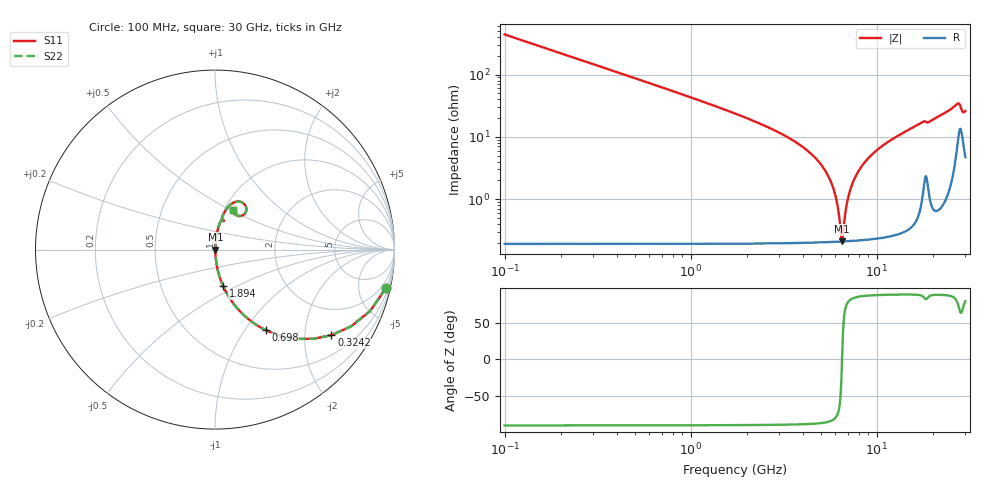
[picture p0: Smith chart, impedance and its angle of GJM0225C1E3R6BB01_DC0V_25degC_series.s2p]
!Murata Part Number: GJM0225C1E3R6BB01
!These Parameters are Measured in Series Mode Connection
!  o--ll--o
!Port1  Port2
!  o------o
!Operation Temp=25[degC], DC Bias Voltage=0[V]
!Freq. Start=100[MHz] Stop=30[GHz], 401[Steps]
!Data Generated on Feb 1, 2023
# Hz S RI R 50
!Freq.(Hz) S11(Real) S11(Imag) S21(Real) S21(Imag) S12(Real) S12(Imag) S22(Real) S22(Imag)
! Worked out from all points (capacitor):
!   401 points, 100 MHz to 30 GHz, reference 50 ohm
!   read as one part in series: C = 3.6 pF near 249.5 MHz
!   lowest |Z| = 210 mohm at 6.529 GHz (marker M1)
!   series resonance near 6.516 GHz, so ESL is about 170 pH
!   S11 on the Smith chart (normalised r, x): 100 MHz: 1.00, -8.84; 324.2 MHz: 1.00, -2.72; 698 MHz: 1.00, -1.25; 1.894 GHz: 1.00, -0.43; 30 GHz: 1.09, +0.51
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1e8  0.9512 -0.2152  0.0488 0.2152  0.0488 0.2152  0.9512 -0.2152
3.2425e8  0.6489 -0.4766  0.3511 0.4766  0.3511 0.4766  0.6489 -0.4766
6.98e8  0.2822 -0.4486  0.7178 0.4486  0.7178 0.4486  0.2822 -0.4486
1.1465e9  0.1238 -0.3268  0.8762 0.3268  0.8762 0.3268  0.1238 -0.3268
1.894e9  0.0454 -0.2037  0.9546 0.2037  0.9546 0.2037  0.0454 -0.2037
5.10825e9  0.00312 -0.0333  0.9969 0.0333  0.9969 0.0333  0.00312 -0.0333
5.9305e9  0.00221 -0.0128  0.9978 0.0128  0.9978 0.0128  0.00221 -0.0128
6.15475e9  0.00212 -0.00774  0.9979 0.00774  0.9979 0.00774  0.00212 -0.00774
6.379e9  0.00208 -0.00288  0.9979 0.00288  0.9979 0.00288  0.00208 -0.00288
6.5285e9  0.00208 0.000264  0.9979 -0.000264  0.9979 -0.000264  0.00208 0.000264
6.60325e9  0.00208 0.00181  0.9979 -0.00181  0.9979 -0.00181  0.00208 0.00181
6.8275e9  0.00213 0.00635  0.9979 -0.00635  0.9979 -0.00635  0.00213 0.00635
7.05175e9  0.00222 0.0107  0.9978 -0.0107  0.9978 -0.0107  0.00222 0.0107
7.575e9  0.00255 0.0205  0.9974 -0.0205  0.9974 -0.0205  0.00255 0.0205
8.6215e9  0.00369 0.0386  0.9963 -0.0386  0.9963 -0.0386  0.00369 0.0386
1.01165e10  0.00616 0.0619  0.9938 -0.0619  0.9938 -0.0619  0.00616 0.0619
1.505e10  0.0203 0.1291  0.9797 -0.1291  0.9797 -0.1291  0.0203 0.1291
2.005825e10  0.0408 0.1803  0.9592 -0.1803  0.9592 -0.1803  0.0408 0.1803
2.50665e10  0.0853 0.25  0.9147 -0.25  0.9147 -0.25  0.0853 0.25
2.7907e10  0.1749 0.2267  0.8251 -0.2267  0.8251 -0.2267  0.1749 0.2267
2.89535e10  0.126 0.1882  0.874 -0.1882  0.874 -0.1882  0.126 0.1882
3e10  0.0991 0.2205  0.9009 -0.2205  0.9009 -0.2205  0.0991 0.2205
